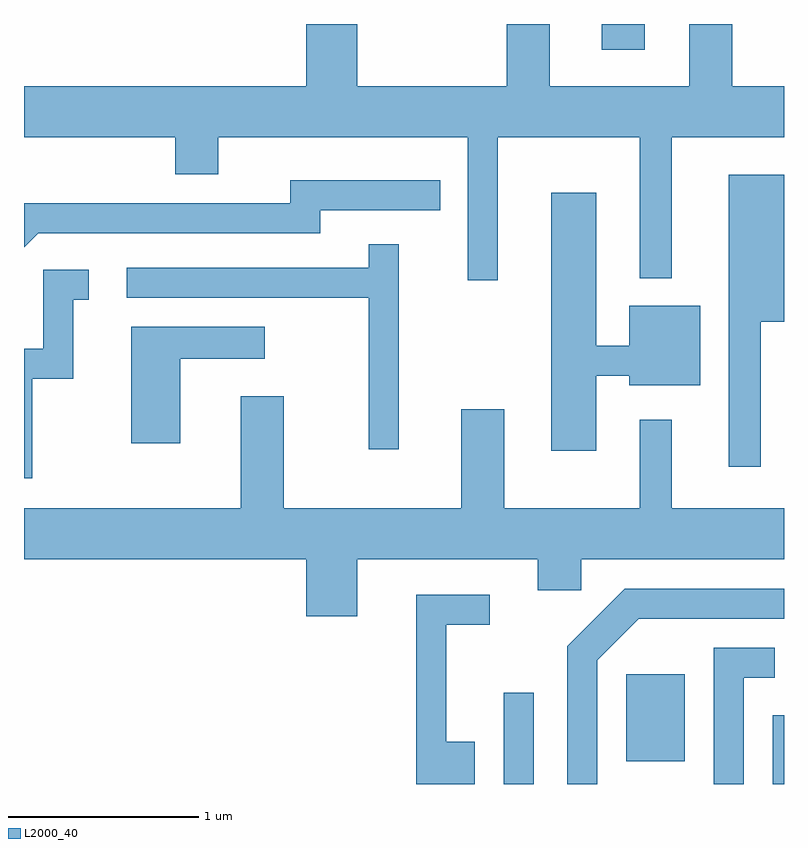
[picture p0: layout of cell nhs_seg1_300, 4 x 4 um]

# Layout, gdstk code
import gdstk
lib = gdstk.Library(unit=1e-6, precision=1e-09)
def R(c, l, rs):  # rectangles x0, y0, x1, y1
    for r in rs: c.add(gdstk.rectangle(r[:2], r[2:], *l))
def P(c, l, *ps):  # polygons
    for p in ps: c.add(gdstk.Polygon(p, *l))
L2000_40 = (2000, 40)

nhs_seg1_300 = lib.new_cell('nhs_seg1_300')
R(nhs_seg1_300, L2000_40, [(196.136,911.712,196.294,912.193), (197.551,911.712,197.611,912.073), (196.781,911.831,197.089,912.289), (196.651,915.576,196.879,915.712)])
P(nhs_seg1_300, L2000_40, [(196.104,915.116),(196.851,915.116),(196.851,914.373),(197.019,914.373),(197.019,915.116),(197.611,915.116),(197.611,915.384),(197.339,915.384),(197.339,915.712),(197.111,915.712),(197.111,915.384),(196.379,915.384),(196.379,915.712),(196.151,915.712),(196.151,915.384),(195.364,915.384),(195.364,915.712),(195.096,915.712),(195.096,915.384),(193.611,915.384),(193.611,915.116),(194.406,915.116),(194.406,914.921),(194.634,914.921),(194.634,915.116),(195.946,915.116),(195.946,914.363),(196.104,914.363)],
  [(197.489,914.146),(197.611,914.146),(197.611,914.919),(197.321,914.919),(197.321,913.383),(197.489,913.383)],
  [(193.687,914.611),(195.169,914.611),(195.169,914.731),(195.803,914.731),(195.803,914.889),(195.011,914.889),(195.011,914.769),(193.611,914.769),(193.611,914.536)],
  [(196.624,913.861),(196.796,913.861),(196.796,913.811),(197.169,913.811),(197.169,914.229),(196.796,914.229),(196.796,914.019),(196.624,914.019),(196.624,914.824),(196.386,914.824),(196.386,913.466),(196.624,913.466)],
  [(195.584,914.553),(195.426,914.553),(195.426,914.429),(194.153,914.429),(194.153,914.271),(195.426,914.271),(195.426,913.473),(195.584,913.473)],
  [(193.654,913.846),(193.869,913.846),(193.869,914.261),(193.953,914.261),(193.953,914.419),(193.711,914.419),(193.711,914.004),(193.611,914.004),(193.611,913.321),(193.654,913.321)],
  [(194.434,913.951),(194.878,913.951),(194.878,914.119),(194.176,914.119),(194.176,913.506),(194.434,913.506)],
  [(195.364,912.896),(196.316,912.896),(196.316,912.731),(196.544,912.731),(196.544,912.896),(197.611,912.896),(197.611,913.164),(197.019,913.164),(197.019,913.628),(196.851,913.628),(196.851,913.164),(196.139,913.164),(196.139,913.684),(195.911,913.684),(195.911,913.164),(194.979,913.164),(194.979,913.754),(194.751,913.754),(194.751,913.164),(193.611,913.164),(193.611,912.896),(195.096,912.896),(195.096,912.596),(195.364,912.596)],
  [(196.629,912.364),(196.847,912.581),(197.611,912.581),(197.611,912.739),(196.774,912.739),(196.471,912.437),(196.471,911.712),(196.629,911.712)],
  [(195.984,911.934),(195.834,911.934),(195.834,912.551),(196.063,912.551),(196.063,912.709),(195.676,912.709),(195.676,911.712),(195.984,911.712)],
  [(197.399,912.271),(197.563,912.271),(197.563,912.429),(197.241,912.429),(197.241,911.712),(197.399,911.712)])

lib.write_gds('nhs_seg1_300.gds')
